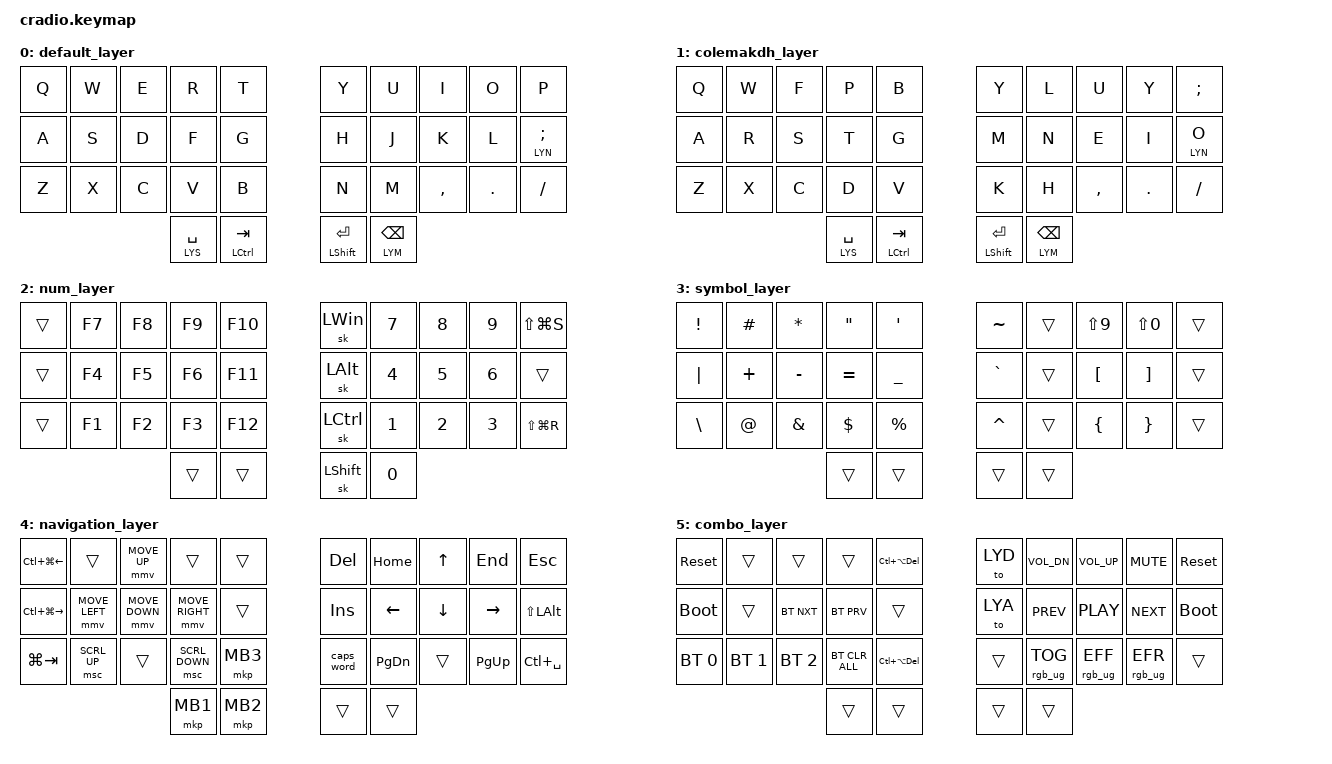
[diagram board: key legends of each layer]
// Copyright (c) 2022 The ZMK Contributors
// SPDX-License-Identifier: MIT

#include <behaviors.dtsi>
#include <dt-bindings/zmk/keys.h>
#include <dt-bindings/zmk/bt.h>
#define ZMK_POINTING_DEFAULT_MOVE_VAL 600 // default: 600
#define ZMK_POINTING_DEFAULT_SCRL_VAL 10 // default: 10
#include <dt-bindings/zmk/pointing.h>
#include <dt-bindings/zmk/rgb.h>
#include <dt-bindings/zmk/backlight.h>

// LAYER
#define LYD 0 // DEFAULT
#define LYA 1 // COLEMAKDH
#define LYN 2 // NUM & FUNC
#define LYS 3 // SYMBOL
#define LYM 4 // NAVIGATION
#define LYC 5 // COMBO

// Home row mods macro
//#define HRML(k1,k2,k3,k4) &ht LSHFT k1  &ht LALT k2  &ht LCTRL k3  &ht LGUI k4
//#define HRMR(k1,k2,k3,k4) &ht RGUI k1  &ht RCTRL k2  &ht RALT k3  &ht RSHFT k4

//╭──────────┬──────────┬──────────┬──────────┬──────────╮   ╭──────────┬──────────┬──────────┬──────────┬──────────╮
//│     0    │     1    │     2    │     3    │     4    │   │     5    │     6    │    7     │    8     │     9    │ 
//├──────────┼──────────┼──────────┼──────────┼──────────┤   ├──────────┼──────────┼──────────┼──────────┼──────────┤
//│    10    │    11    │    12    │    13    │    14    │   │    15    │    16    │   17     │   18     │    19    │
//├──────────┼──────────┼──────────┼──────────┼──────────┤   ├──────────┼──────────┼──────────┼──────────┼──────────┤
//│    20    │    21    │    22    │    23    │    24    │   │    25    │    26    │   27     │   28     │    29    │  
//╰──────────┴──────────┴──────────┼──────────┼──────────┤   ├──────────┼──────────┼──────────┴──────────┴──────────╯
//                                 │    30    │    31    │   │    32    │    33    │
//                                 ╰──────────┴──────────╯   ╰──────────┴──────────╯

/ {
    behaviors {
        ht: hold_tap {
            compatible = "zmk,behavior-hold-tap";
            #binding-cells = <2>;
            flavor = "tap-preferred";
            tapping-term-ms = <220>;
            quick-tap-ms = <150>;
            require-prior-idle-ms = <100>;
            bindings = <&kp>, <&kp>;
        };
    };

    combos {
        compatible = "zmk,combos";
        // A+S -> Ctrl-Z
        combo_cut {
            timeout-ms = <50>;
            layers = <0 1>;
            key-positions = <10 11>;
            bindings = <&kp LC(X)>;
        };
        // S+D -> Ctrl-C
        combo_copy {
            timeout-ms = <50>;
            layers = <0 1>;
            key-positions = <11 12>;
            bindings = <&kp LC(C)>;
        };
        // D+F -> Ctrl-V
        combo_paste {
            timeout-ms = <50>;
            layers = <0 1>;
            key-positions = <12 13>;
            bindings = <&kp LC(V)>;
        };
        // Z+X -> (
        combo_leftbrace {
            timeout-ms = <50>;
            layers = <0 1>;
            key-positions = <20 21>;
            bindings = <&kp LS(N9)>;
        };
        // >+? -> )
        combo_rightbrace {
            timeout-ms = <50>;
            layers = <0 1>;
            key-positions = <28 29>;
            bindings = <&kp LS(N0)>;
        };
        // X+C -> [
        combo_leftbracket {
            timeout-ms = <50>;
            layers = <0 1>;
            key-positions = <21 22>;
            bindings = <&kp LBKT>;
        };
        // <+> -> ]
        combo_rightbracket {
            timeout-ms = <50>;
            layers = <0 1>;
            key-positions = <27 28>;
            bindings = <&kp RBKT>;
        };
        // C+V -> {
        combo_leftparenthesis {
            timeout-ms = <50>;
            layers = <0 1>;
            key-positions = <22 23>;
            bindings = <&kp LBRC>;
        };
        // M+< -> }
        combo_rightparenthesis {
            timeout-ms = <50>;
            layers = <0 1>;
            key-positions = <26 27>;
            bindings = <&kp RBRC>;
        };
    };

    conditional_layers {
        compatible = "zmk,conditional-layers";
        tri_layer {
            if-layers = <3 4>;
            then-layer = <5>;
        };
    };

    keymap {
        compatible = "zmk,keymap";

        // LAYER 0 (DEFAULT)
        default_layer {
            bindings = <
        //╭──────────┬──────────┬──────────┬──────────┬──────────╮   ╭──────────┬──────────┬──────────┬──────────┬──────────╮
        //│  Q       │  W       │  E       │  R       │  T       │   │  Y       │  U       │  I       │  O       │  P       │
            &kp Q      &kp W      &kp E      &kp R      &kp T          &kp Y      &kp U      &kp I      &kp O      &kp P
        //├──────────┼──────────┼──────────┼──────────┼──────────┤   ├──────────┼──────────┼──────────┼──────────┼──────────┤
        //│  A       │  S       │  D       │  F       │  G       │   │  H       │  J       │  K       │  L       │ L2/ ; :  │
        //    HRML(A,        S,         D,         F)     &kp G          &kp H      HRMR(J,        K,         L,        SEMI)
            &kp A      &kp S      &kp D      &kp F      &kp G          &kp H      &kp J      &kp K      &kp L      &lt LYN SEMI
        //├──────────┼──────────┼──────────┼──────────┼──────────┤   ├──────────┼──────────┼──────────┼──────────┼──────────┤
        //│  Z       │  X       │  C       │  V       │  B       │   │  N       │  M       │ , <      │ . >      │ / ?      │
            &kp Z      &kp X      &kp C      &kp V      &kp B          &kp N      &kp M      &kp COMMA  &kp DOT    &kp FSLH
        //╰──────────┴──────────┴──────────┼──────────┼──────────┤   ├──────────┼──────────┼──────────┴──────────┴──────────╯
        //                                 │  LYS/SPC │ CTL/TAB  │   │ SFT/RET  │ LYM/BSPC  │
                                       &lt LYS SPACE   &mt LCTRL TAB  &mt LSHFT ENTER  &lt LYM BSPC
        //                                 ╰──────────┴──────────╯   ╰──────────┴──────────╯
            >;
        };

        // LAYER 1 (COLEMAKDH)
        colemakdh_layer {
            bindings = <
        //╭──────────┬──────────┬──────────┬──────────┬──────────╮   ╭──────────┬──────────┬──────────┬──────────┬──────────╮
        //│  Q       │  W       │  F       │  P       │  B       │   │  J       │  L       │  U       │  Y       │  ;       │
            &kp Q      &kp W      &kp F      &kp P      &kp B          &kp Y      &kp L      &kp U      &kp Y      &kp SEMI
        //├──────────┼──────────┼──────────┼──────────┼──────────┤   ├──────────┼──────────┼──────────┼──────────┼──────────┤
        //│  A       │  R       │  S       │  T       │  G       │   │  M       │  N       │  E       │  I       │  L2/ O   │
        //    HRML(A,        R,         S,         T)     &kp G          &kp M      HRMR(N,        E,         I,        O)
            &kp A      &kp R      &kp S      &kp T      &kp G          &kp M      &kp N      &kp E      &kp I      &lt LYN O
        //├──────────┼──────────┼──────────┼──────────┼──────────┤   ├──────────┼──────────┼──────────┼──────────┼──────────┤
        //│  Z       │  X       │  C       │  D       │  V       │   │  K       │  H       │ , <      │ . >      │ / ?      │
            &kp Z      &kp X      &kp C      &kp D      &kp V          &kp K      &kp H      &kp COMMA  &kp DOT    &kp FSLH
        //╰──────────┴──────────┴──────────┼──────────┼──────────┤   ├──────────┼──────────┼──────────┴──────────┴──────────╯
        //                                 │  LYS/SPC │ CTL/TAB  │   │ SFT/RET  │ LYM/BSPC  │
                                       &lt LYS SPACE   &mt LCTRL TAB  &mt LSHFT ENTER  &lt LYM BSPC
        //                                 ╰──────────┴──────────╯   ╰──────────┴──────────╯
            >;
        };

        // LAYER 2 (NUM & FUNC)
        num_layer {
            bindings = <
        //╭──────────┬──────────┬──────────┬──────────┬──────────╮   ╭──────────┬──────────┬──────────┬──────────┬──────────╮
        //│          │  F7      │  F8      │  F9      │  F10     │   │ OSM WIN  │  7       │  8       │  9       │          │
            &trans    &kp F7     &kp F8     &kp F9     &kp F10        &sk LWIN    &kp N7     &kp N8     &kp N9     &kp LS(LG(S))   
        //├──────────┼──────────┼──────────┼──────────┼──────────┤   ├──────────┼──────────┼──────────┼──────────┼──────────┤
        //│          │  F4      │  F5      │  F6      │  F11     │   │ OSM ALT  │  4       │  5       │  6       │          │
            &trans    &kp F4     &kp F5     &kp F6     &kp F11        &sk LALT    &kp N4     &kp N5     &kp N6     &trans   
        //├──────────┼──────────┼──────────┼──────────┼──────────┤   ├──────────┼──────────┼──────────┼──────────┼──────────┤
        //│          │  F1      │  F2      │  F3      │  F12     │   │ OSM CTL  │  1       │  2       │  3       │          │
            &trans    &kp F1     &kp F2     &kp F3     &kp F12        &sk LCTRL   &kp N1     &kp N2     &kp N3     &kp LS(LG(R))   
        //╰──────────┴──────────┴──────────┼──────────┼──────────┤   ├──────────┼──────────┼──────────┴──────────┴──────────╯
        //                                 │          │          │   │ OSM SFT  │  0       │
                                             &trans    &trans         &sk LSHFT   &kp N0    
        //                                 ╰──────────┴──────────╯   ╰──────────┴──────────╯
            >;
        };

        // LAYER 3 (SYMBOL)
        symbol_layer {
            bindings = <
        //╭──────────┬──────────┬──────────┬──────────┬──────────╮   ╭──────────┬──────────┬──────────┬──────────┬──────────╮
        //│ !        │ #        │ *        │ "        │ '        │   │ ~        │          │ (        │ )        │          │
            &kp EXCL   &kp HASH   &kp ASTRK  &kp DQT    &kp APOS       &kp TILDE  &trans     &kp LS(N9) &kp LS(N0) &trans
        //├──────────┼──────────┼──────────┼──────────┼──────────┤   ├──────────┼──────────┼──────────┼──────────┼──────────┤
        //│ |        │ +        │ -        │ =        │ _        │   │ `        │          │ [        │ ]        │          │
            &kp PIPE   &kp PLUS   &kp MINUS  &kp EQUAL  &kp UNDER      &kp GRAVE  &trans     &kp LBKT   &kp RBKT   &trans
        //├──────────┼──────────┼──────────┼──────────┼──────────┤   ├──────────┼──────────┼──────────┼──────────┼──────────┤
        //│ \        │ @        │ &        │ $        │ %        │   │ ^        │          │ {        │ }        │          │
            &kp BSLH   &kp AT     &kp AMPS   &kp DLLR  &kp PRCNT       &kp CARET  &trans     &kp LBRC   &kp RBRC   &trans
        //╰──────────┴──────────┴──────────┼──────────┼──────────┤   ├──────────┼──────────┼──────────┴──────────┴──────────╯
        //                                 │          │          │   │          │          │
                                             &trans     &trans         &trans     &trans
        //                                 ╰──────────┴──────────╯   ╰──────────┴──────────╯
            >;
        };
        // LAYER 4 (NAVIGATION)
        navigation_layer {
            bindings = <
        //╭─────────────────┬───────────────┬───────────────┬───────────────┬──────────╮   ╭──────────┬──────────┬──────────┬──────────┬──────────╮
        //│                 │               │               │               │          │   │ DELETE   │ HOME     │ UP       │ END      │ ESC      │
           &kp LC(LG(LEFT))  &trans          &mmv MOVE_UP    &trans          &trans         &kp DEL    &kp HOME   &kp UP     &kp END    &kp ESC
        //├─────────────────┼───────────────┼───────────────┼───────────────┼──────────┤   ├──────────┼──────────┼──────────┼──────────┼──────────┤
        //│                 │               │               │               │          │   │ INSERT   │ LEFT     │ DOWN     │ RIGHT    │ SHIFTALT │
           &kp LC(LG(RIGHT)) &mmv MOVE_LEFT  &mmv MOVE_DOWN  &mmv MOVE_RIGHT &trans         &kp INS    &kp LEFT   &kp DOWN   &kp RIGHT  &kp LS(LALT)
        //├─────────────────┼───────────────┼───────────────┼───────────────┼──────────┤   ├──────────┼──────────┼──────────┼──────────┼──────────┤
        //│ LGUITAB         │               │               │               │          │   │ CAPS     │ PAGE DN  │          │ PAGE UP  │ CTRLSPC  │
           &kp LG(TAB)       &msc SCRL_UP    &trans          &msc SCRL_DOWN  &mkp MB3       &caps_word  &kp PG_DN  &trans    &kp PG_UP  &kp LC(SPACE)
        //╰─────────────────┴───────────────┴───────────────┼───────────────┼──────────┤   ├──────────┼──────────┼──────────┴──────────┴──────────╯
        //                                                  │               │          │   │          │          │
                                                             &mkp MB1        &mkp MB2       &trans     &trans
        //                                                  ╰───────────────┴──────────╯   ╰──────────┴──────────╯
            >;
        };

        // LAYER 5 (COMBO)
        combo_layer {
            bindings = <
        //╭────────────┬───────────────┬────────────┬──────────────┬─────────────╮   ╭──────────┬────────────────┬────────────────┬──────────────┬────────────╮
        //│ RESET      │               │            │              │             │   │ LAYER0   │ VOL DOWN       │ VOL UP         │ MUTE         │ RESET      │
           &sys_reset   &trans          &trans       &trans        &kp LC(LA(DEL))             &to LYD    &kp C_VOL_DN     &kp C_VOL_UP     &kp C_MUTE     &sys_reset
        //├────────────┼───────────────┼────────────┼──────────────┼─────────────┤   ├──────────┼────────────────┼────────────────┼──────────────┼────────────┤
        //│ BOOTLOADER │               │            │              │             │   │ LAYER1   │ PREV           │ PLAY           │ NEXT         │ BOOTLOADER │
           &bootloader  &trans          &bt BT_NXT   &bt BT_PRV    &trans             &to LYA    &kp C_PREV       &kp C_PLAY       &kp C_NEXT     &bootloader
        //├────────────┼───────────────┼────────────┼──────────────┼─────────────┤   ├──────────┼────────────────┼────────────────┼──────────────┼────────────┤
        //│ PROFILE 0  │ PROFILE 1     │ PROFILE 2  │ BT CLR ALL   │             │   │          │ RGB TOG        │ RGB FWD        │ RGB REV      │            │
          &bt BT_SEL 0 &bt BT_SEL 1    &bt BT_SEL 2  &bt BT_CLR_ALL &kp LC(LA(DEL))   &trans    &rgb_ug RGB_TOG  &rgb_ug RGB_EFF  &rgb_ug RGB_EFR &trans
        //╰────────────┴───────────────┴────────────┼──────────────┼─────────────┤   ├──────────┼────────────────┼────────────────┴──────────────┴────────────╯
        //                                          │              │             │   │          │                │
                                                     &trans         &trans            &trans     &trans
        //                                          ╰──────────────┴─────────────╯   ╰──────────┴────────────────╯
            >;
        };
    };
};
